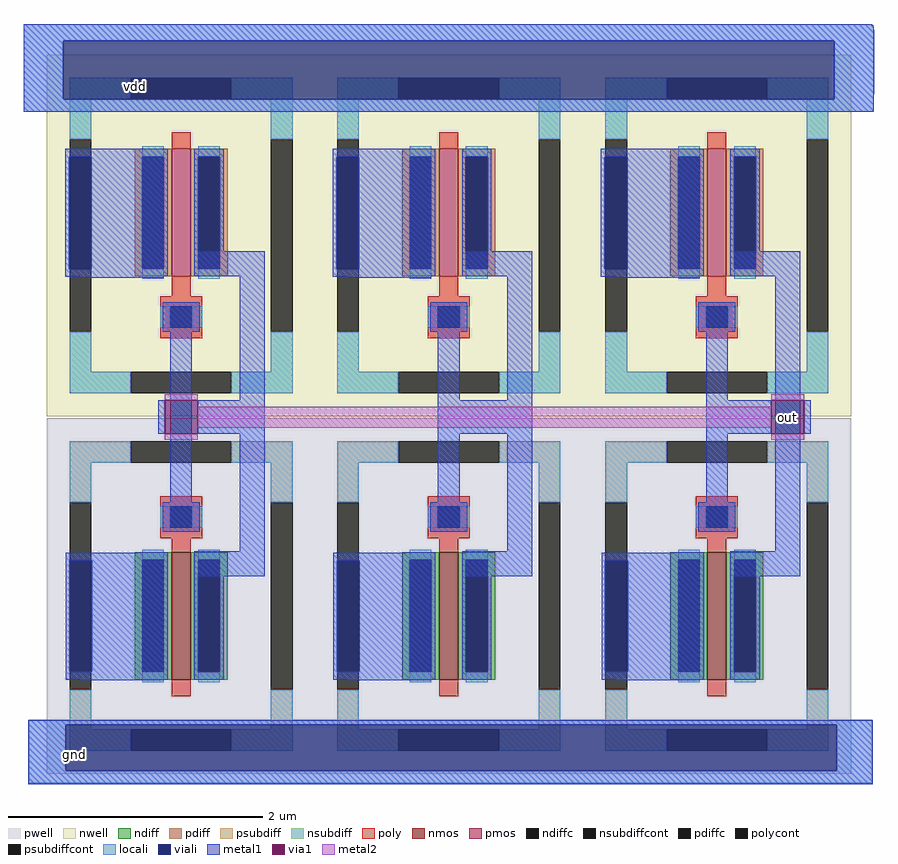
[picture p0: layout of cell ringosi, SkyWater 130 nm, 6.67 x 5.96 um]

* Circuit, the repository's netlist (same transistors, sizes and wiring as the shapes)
* NGSPICE file created from ringosi.ext - technology: sky130A

.subckt sky130_fd_pr__nfet_01v8_64Z3AY a_15_n131# a_n175_n243# a_n33_91# a_n73_n131#
X0 a_15_n131# a_n33_91# a_n73_n131# a_n175_n243# sky130_fd_pr__nfet_01v8 ad=0.29 pd=2.58 as=0.29 ps=2.58 w=1 l=0.15
.ends

.subckt sky130_fd_pr__pfet_01v8_LGS3BL a_n73_n64# a_n33_n161# a_15_n64# w_n211_n284#
X0 a_15_n64# a_n33_n161# a_n73_n64# w_n211_n284# sky130_fd_pr__pfet_01v8 ad=0.29 pd=2.58 as=0.29 ps=2.58 w=1 l=0.15
.ends

.subckt invertercoba vdd in out gnd
XXM1 out gnd in gnd sky130_fd_pr__nfet_01v8_64Z3AY
XXM2 vdd in out vdd sky130_fd_pr__pfet_01v8_LGS3BL
.ends

.subckt ringosi gnd out vdd
Xx1 vdd out out gnd invertercoba
Xx2 vdd x2/in x2/in gnd invertercoba
Xx3 vdd out out gnd invertercoba
.ends

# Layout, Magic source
magic
tech sky130A
magscale 1 2
<< locali >>
rect 388 1290 1720 1292
rect 388 1266 1722 1290
rect 388 1174 450 1266
rect 1660 1174 1722 1266
rect 388 1154 1722 1174
rect 396 192 1720 200
rect 396 120 454 192
rect 1664 120 1720 192
rect 396 100 1720 120
<< viali >>
rect 450 1174 1660 1266
rect 454 120 1664 192
<< metal1 >>
rect 388 1288 1720 1292
rect 388 1282 1722 1288
rect 388 1266 1723 1282
rect 388 1174 450 1266
rect 1660 1182 1723 1266
rect 1660 1174 1722 1182
rect 388 1154 1722 1174
rect 599 649 609 701
rect 661 649 766 701
rect 1038 649 1186 701
rect 1459 649 1561 701
rect 1613 649 1623 701
rect 395 192 1721 199
rect 395 120 454 192
rect 1664 120 1721 192
rect 395 99 1721 120
<< via1 >>
rect 609 649 661 701
rect 1561 649 1613 701
<< metal2 >>
rect 609 701 661 711
rect 1561 701 1613 711
rect 661 658 1561 691
rect 609 639 661 649
rect 1561 639 1613 649
use invertercoba  x1
transform 1 0 477 0 1 106
box -53 9 369 1138
use invertercoba  x2
transform 1 0 897 0 1 106
box -53 9 369 1138
use invertercoba  x3
transform 1 0 1318 0 1 106
box -53 9 369 1138
<< labels >>
flabel viali 466 146 468 146 0 FreeSans 480 0 0 0 gnd
port 3 nsew
flabel via1 1587 674 1587 674 0 FreeSans 320 0 0 0 out
port 10 nsew
flabel viali 563 1194 563 1194 0 FreeSans 320 0 0 0 vdd
port 12 nsew
<< end >>

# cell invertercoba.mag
magic
tech sky130A
magscale 1 2
<< viali >>
rect -18 801 17 978
rect -17 169 18 344
<< metal1 >>
rect -24 978 131 990
rect -24 801 -18 978
rect 17 801 131 978
rect -24 789 131 801
rect 185 790 289 829
rect 0 788 131 789
rect 141 395 175 743
rect 250 358 289 790
rect -23 344 131 356
rect -23 169 -17 344
rect 18 169 131 344
rect 179 319 289 358
rect -23 157 131 169
rect 0 156 131 157
use sky130_fd_pr__nfet_01v8_64Z3AY  XM1
transform 1 0 158 0 1 288
box -211 -279 211 279
use sky130_fd_pr__pfet_01v8_LGS3BL  XM2
transform 1 0 158 0 1 854
box -211 -284 211 284
<< labels >>
flabel metal1 46 892 52 892 0 FreeSans 160 0 0 0 vdd
port 1 nsew
flabel metal1 50 253 52 253 0 FreeSans 160 0 0 0 gnd
port 3 nsew
flabel metal1 272 545 274 549 0 FreeSans 160 0 0 0 out
port 5 nsew
flabel metal1 148 564 154 568 0 FreeSans 160 0 0 0 in
port 4 nsew
<< end >>

# cell sky130_fd_pr__nfet_01v8_64Z3AY: kit device sky130_fd_pr__nfet_01v8, w 1.0 l 0.15 m 1 nf 1 diffcov 100 polycov 100 guard 1 glc 1 grc 1 gtc 1 gbc 1 tbcov 100 rlcov 100 topc 1 botc 0 poverlap 0 doverlap 1 lmin 0.15 wmin 0.42 compatible {sky130_fd_pr__nfet_01v8 sky130_fd_pr__nfet_01v8_lvt sky130_fd_bs_flash__special_sonosfet_star sky130_fd_pr__nfet_g5v0d10v5 sky130_fd_pr__nfet_05v0_nvt sky130_fd_pr__nfet_03v3_nvt} full_metal 1 viasrc 100 viadrn 100 viagate 100 viagb 0 viagr 0 viagl 0 viagt 0

# cell sky130_fd_pr__pfet_01v8_LGS3BL: kit device sky130_fd_pr__pfet_01v8, w 1.0 l 0.15 m 1 nf 1 diffcov 100 polycov 100 guard 1 glc 1 grc 1 gtc 1 gbc 1 tbcov 100 rlcov 100 topc 0 botc 1 poverlap 0 doverlap 1 lmin 0.15 wmin 0.42 compatible {sky130_fd_pr__pfet_01v8 sky130_fd_pr__pfet_01v8_lvt sky130_fd_pr__pfet_01v8_hvt sky130_fd_pr__pfet_g5v0d10v5} full_metal 1 viasrc 100 viadrn 100 viagate 100 viagb 0 viagr 0 viagl 0 viagt 0
